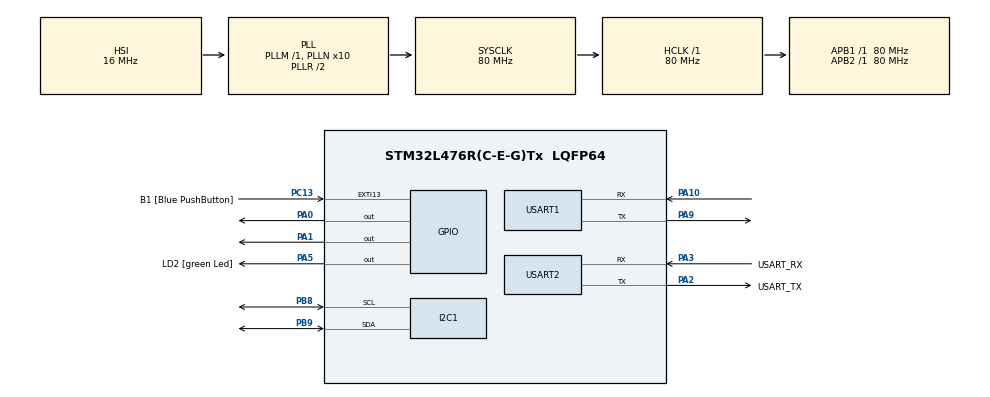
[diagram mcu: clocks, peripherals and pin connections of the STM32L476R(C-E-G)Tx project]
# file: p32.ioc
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I2C1.Timing=0x10D19CE4
Mcu.Family=STM32L4
Mcu.Name=STM32L476R(C-E-G)Tx
Mcu.Package=LQFP64
NVIC.PriorityGroup=NVIC_PRIORITYGROUP_4
PA0.Signal=GPIO_Output
PA1.Signal=GPIO_Output
PA10.Mode=Asynchronous
PA10.Signal=USART1_RX
PA13\ (JTMS-SWDIO).GPIO_Label=TMS
PA13\ (JTMS-SWDIO).Mode=Serial_Wire
PA13\ (JTMS-SWDIO).Signal=SYS_JTMS-SWDIO
PA14\ (JTCK-SWCLK).GPIO_Label=TCK
PA14\ (JTCK-SWCLK).Mode=Serial_Wire
PA14\ (JTCK-SWCLK).Signal=SYS_JTCK-SWCLK
PA2.GPIO_Label=USART_TX
PA2.GPIO_Mode=GPIO_MODE_AF_PP
PA2.GPIO_PuPd=GPIO_NOPULL
PA2.GPIO_Speed=GPIO_SPEED_FREQ_VERY_HIGH
PA2.Mode=Asynchronous
PA2.Signal=USART2_TX
PA3.GPIO_Label=USART_RX
PA3.GPIO_Mode=GPIO_MODE_AF_PP
PA3.GPIO_PuPd=GPIO_NOPULL
PA3.GPIO_Speed=GPIO_SPEED_FREQ_VERY_HIGH
PA3.Mode=Asynchronous
PA3.Signal=USART2_RX
PA5.GPIO_Label=LD2 [green Led]
PA5.GPIO_ModeDefaultOutputPP=GPIO_MODE_OUTPUT_PP
PA5.GPIO_PuPd=GPIO_NOPULL
PA5.GPIO_Speed=GPIO_SPEED_FREQ_LOW
PA5.Signal=GPIO_Output
PA9.Mode=Asynchronous
PA9.Signal=USART1_TX
PB3\ (JTDO-TRACESWO).GPIO_Label=SWO
PB3\ (JTDO-TRACESWO).Signal=SYS_JTDO-SWO
PB8.Mode=I2C
PB8.Signal=I2C1_SCL
PB9.Mode=I2C
PB9.Signal=I2C1_SDA
PC13.GPIO_Label=B1 [Blue PushButton]
PC13.GPIO_ModeDefaultEXTI=GPIO_MODE_IT_FALLING
PC13.GPIO_PuPd=GPIO_NOPULL
PC13.Signal=GPXTI13
PC14-OSC32_IN\ (PC14).Mode=LSE-External-Oscillator
PC14-OSC32_IN\ (PC14).Signal=RCC_OSC32_IN
PC15-OSC32_OUT\ (PC15).Mode=LSE-External-Oscillator
PC15-OSC32_OUT\ (PC15).Signal=RCC_OSC32_OUT
PH0-OSC_IN\ (PH0).Signal=RCC_OSC_IN
PH1-OSC_OUT\ (PH1).Signal=RCC_OSC_OUT
ProjectManager.HeapSize=0x200
ProjectManager.StackSize=0x400
ProjectManager.TargetToolchain=STM32CubeIDE
RCC.ADCFreq_Value=64000000
RCC.AHBFreq_Value=80000000
RCC.APB1Freq_Value=80000000
RCC.APB1TimFreq_Value=80000000
RCC.APB2Freq_Value=80000000
RCC.APB2TimFreq_Value=80000000
RCC.CortexFreq_Value=80000000
RCC.HCLKFreq_Value=80000000
RCC.HSE_VALUE=8000000
RCC.HSI_VALUE=16000000
RCC.MSI_VALUE=4000000
RCC.PLLN=10
RCC.PLLSourceVirtual=RCC_PLLSOURCE_HSI
RCC.PREFETCH_ENABLE=1
RCC.SYSCLKFreq_VALUE=80000000
RCC.SYSCLKSource=RCC_SYSCLKSOURCE_PLLCLK
RCC.USBFreq_Value=64000000
RCC.VCOOutputFreq_Value=160000000
USART1.VirtualMode-Asynchronous=VM_ASYNC
USART2.VirtualMode-Asynchronous=VM_ASYNC
board=NUCLEO-L476RG

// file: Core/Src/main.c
/* USER CODE BEGIN Header */
/**
  ******************************************************************************
  * @file           : main.c
  * @brief          : Edge AI Predictive Maintenance
  ******************************************************************************
  */
/* USER CODE END Header */

#include "main.h"

/* USER CODE BEGIN Includes */
#include <stdio.h>
#include <string.h>
#include "mpu.h"
#include "dht11.h"
#include "bmp.h"
#include "NanoEdgeAI.h"
/* USER CODE END Includes */

/* USER CODE BEGIN PD */
#define VIB_PERIOD_MS   1000
#define ENV_PERIOD_MS   1000

#define SIM_LIMIT   80
#define TEMP_LIMIT  50.0f
#define PRESS_LIMIT 1500.0f
#define HUM_LIMIT   80.0f
/* USER CODE END PD */

/* Private variables */
I2C_HandleTypeDef hi2c1;
UART_HandleTypeDef huart1;
UART_HandleTypeDef huart2;

/* USER CODE BEGIN PV */

/* ===== NanoEdge AI ===== */
enum neai_state state;
uint8_t similarity;
float neai_input[NEAI_INPUT_SIGNAL_LENGTH * NEAI_INPUT_AXIS_NUMBER];

/* ===== Sensors ===== */
float temperature = 0.0f;
float humidity = 0.0f;
float pressure_pa = 0.0f;

/* ===== Timers ===== */
uint32_t last_vib_tick = 0;
uint32_t last_env_tick = 0;

/* USER CODE END PV */

/* Function prototypes */
void SystemClock_Config(void);
static void MX_GPIO_Init(void);
static void MX_USART2_UART_Init(void);
static void MX_USART1_UART_Init(void);
static void MX_I2C1_Init(void);

/* USER CODE BEGIN PFP */
int __io_putchar(int ch);
static void Log_All_Sensors(void);
/* USER CODE END PFP */

int main(void)
{
  HAL_Init();
  SystemClock_Config();

  MX_GPIO_Init();
  MX_USART2_UART_Init();
  MX_USART1_UART_Init();
  MX_I2C1_Init();

  /* ===== Sensor Init ===== */
  MPU6050_Init();
  DHT11_Init();
  BMP180_Init(&hi2c1);

  /* ===== NanoEdge Init ===== */
  enum neai_state ret = neai_anomalydetection_init(true);

  if (ret != NEAI_OK)
  {
      printf("NEAI INIT ERROR = %d\r\n", ret);
      Error_Handler();
  }

  printf("SYSTEM STARTED\r\n");

  last_vib_tick = HAL_GetTick();
  last_env_tick = HAL_GetTick();

  while (1)
  {
      uint32_t now = HAL_GetTick();

      if ((now - last_env_tick) >= ENV_PERIOD_MS)
      {
          last_env_tick = now;

          if (DHT11_Read(&temperature, &humidity) != DHT11_OK)
          {
              temperature = 0;
              humidity = 0;
          }

          pressure_pa = BMP180_ReadPressure();
      }

      if ((now - last_vib_tick) >= VIB_PERIOD_MS)
      {
          last_vib_tick = now;
          Log_All_Sensors();   // NOW it prints updated sensor values
      }
  }
}

/* ================= UART PRINT ================= */

int __io_putchar(int ch)
{
  HAL_UART_Transmit(&huart2, (uint8_t *)&ch, 1, HAL_MAX_DELAY);
  return ch;
}

/* ================= MAIN LOGIC ================= */

static void Log_All_Sensors(void)
{
    char esp_buf[64];

    MPU6050_Read_Accel(accel_data);

    neai_input[0] = Ax;
    neai_input[1] = Ay;
    neai_input[2] = Az;

    state = neai_anomalydetection_detect(neai_input, &similarity);

    if (state != NEAI_OK)
    {
        printf("NEAI ERROR = %d\r\n", state);
        return;
    }

    uint8_t abnormal_flag = 0;

    /* ===== AI Check ===== */
    if (similarity <= SIM_LIMIT)
        abnormal_flag = 1;

    /* ===== Sensor Threshold Check ===== */
    if (temperature > TEMP_LIMIT ||
        (pressure_pa / 100.0f) > PRESS_LIMIT ||
        humidity > HUM_LIMIT)
        abnormal_flag = 1;

    uint8_t vib_status;
    const char *status_text;

    if (abnormal_flag == 0)
    {
        vib_status = 1;
        status_text = "NORMAL";

        HAL_GPIO_WritePin(GPIOA, GPIO_PIN_5, GPIO_PIN_SET);    // Green ON
        HAL_GPIO_WritePin(GPIOA, GPIO_PIN_0, GPIO_PIN_RESET); // Red OFF
    }
    else
    {
        vib_status = 2;
        status_text = "ABNORMAL";

        HAL_GPIO_WritePin(GPIOA, GPIO_PIN_0, GPIO_PIN_SET);    // Red ON
        HAL_GPIO_WritePin(GPIOA, GPIO_PIN_5, GPIO_PIN_RESET); // Green OFF
    }

    printf("SIMILARITY = %d %%\r\n", similarity);
    printf("STATUS = %s\r\n", status_text);

    printf("Temp=%.2f C | Pressure=%.2f hPa | Humidity=%.2f %%\r\n",
           temperature,
           pressure_pa / 100.0f,
           humidity);

    printf("--------------------------------\r\n");

    snprintf(esp_buf, sizeof(esp_buf),
             "%.2f,%.2f,%d,%.2f\r\n",
             temperature,
             pressure_pa / 100.0f,
             vib_status,
             humidity);

    HAL_UART_Transmit(&huart1,
                      (uint8_t*)esp_buf,
                      strlen(esp_buf),
                      100);
}

/* ================= INIT FUNCTIONS ================= */
/* (CubeMX generated – keep as it is) */

void SystemClock_Config(void)
{
  RCC_OscInitTypeDef RCC_OscInitStruct = {0};
  RCC_ClkInitTypeDef RCC_ClkInitStruct = {0};

  /** Configure the main internal regulator output voltage
  */
  if (HAL_PWREx_ControlVoltageScaling(PWR_REGULATOR_VOLTAGE_SCALE1) != HAL_OK)
  {
    Error_Handler();
  }

  /** Initializes the RCC Oscillators according to the specified parameters
  * in the RCC_OscInitTypeDef structure.
  */
  RCC_OscInitStruct.OscillatorType = RCC_OSCILLATORTYPE_HSI;
  RCC_OscInitStruct.HSIState = RCC_HSI_ON;
  RCC_OscInitStruct.HSICalibrationValue = RCC_HSICALIBRATION_DEFAULT;
  RCC_OscInitStruct.PLL.PLLState = RCC_PLL_ON;
  RCC_OscInitStruct.PLL.PLLSource = RCC_PLLSOURCE_HSI;
  RCC_OscInitStruct.PLL.PLLM = 1;
  RCC_OscInitStruct.PLL.PLLN = 10;
  RCC_OscInitStruct.PLL.PLLP = RCC_PLLP_DIV7;
  RCC_OscInitStruct.PLL.PLLQ = RCC_PLLQ_DIV2;
  RCC_OscInitStruct.PLL.PLLR = RCC_PLLR_DIV2;
  if (HAL_RCC_OscConfig(&RCC_OscInitStruct) != HAL_OK)
  {
    Error_Handler();
  }

  /** Initializes the CPU, AHB and APB buses clocks
  */
  RCC_ClkInitStruct.ClockType = RCC_CLOCKTYPE_HCLK|RCC_CLOCKTYPE_SYSCLK
                              |RCC_CLOCKTYPE_PCLK1|RCC_CLOCKTYPE_PCLK2;
  RCC_ClkInitStruct.SYSCLKSource = RCC_SYSCLKSOURCE_PLLCLK;
  RCC_ClkInitStruct.AHBCLKDivider = RCC_SYSCLK_DIV1;
  RCC_ClkInitStruct.APB1CLKDivider = RCC_HCLK_DIV1;
  RCC_ClkInitStruct.APB2CLKDivider = RCC_HCLK_DIV1;

  if (HAL_RCC_ClockConfig(&RCC_ClkInitStruct, FLASH_LATENCY_4) != HAL_OK)
  {
    Error_Handler();
  }
}

static void MX_I2C1_Init(void)
{

  hi2c1.Instance = I2C1;
  hi2c1.Init.Timing = 0x10D19CE4;
  hi2c1.Init.OwnAddress1 = 0;
  hi2c1.Init.AddressingMode = I2C_ADDRESSINGMODE_7BIT;
  hi2c1.Init.DualAddressMode = I2C_DUALADDRESS_DISABLE;
  hi2c1.Init.OwnAddress2 = 0;
  hi2c1.Init.OwnAddress2Masks = I2C_OA2_NOMASK;
  hi2c1.Init.GeneralCallMode = I2C_GENERALCALL_DISABLE;
  hi2c1.Init.NoStretchMode = I2C_NOSTRETCH_DISABLE;
  if (HAL_I2C_Init(&hi2c1) != HAL_OK)
  {
    Error_Handler();
  }

  /** Configure Analogue filter
  */
  if (HAL_I2CEx_ConfigAnalogFilter(&hi2c1, I2C_ANALOGFILTER_ENABLE) != HAL_OK)
  {
    Error_Handler();
  }

  /** Configure Digital filter
  */
  if (HAL_I2CEx_ConfigDigitalFilter(&hi2c1, 0) != HAL_OK)
  {
    Error_Handler();
  }

}

static void MX_USART1_UART_Init(void)
{

  huart1.Instance = USART1;
  huart1.Init.BaudRate = 115200;
  huart1.Init.WordLength = UART_WORDLENGTH_8B;
  huart1.Init.StopBits = UART_STOPBITS_1;
  huart1.Init.Parity = UART_PARITY_NONE;
  huart1.Init.Mode = UART_MODE_TX_RX;
  huart1.Init.HwFlowCtl = UART_HWCONTROL_NONE;
  huart1.Init.OverSampling = UART_OVERSAMPLING_16;
  huart1.Init.OneBitSampling = UART_ONE_BIT_SAMPLE_DISABLE;
  huart1.AdvancedInit.AdvFeatureInit = UART_ADVFEATURE_NO_INIT;
  if (HAL_UART_Init(&huart1) != HAL_OK)
  {
    Error_Handler();
  }

}

static void MX_USART2_UART_Init(void)
{

  huart2.Instance = USART2;
  huart2.Init.BaudRate = 115200;
  huart2.Init.WordLength = UART_WORDLENGTH_8B;
  huart2.Init.StopBits = UART_STOPBITS_1;
  huart2.Init.Parity = UART_PARITY_NONE;
  huart2.Init.Mode = UART_MODE_TX_RX;
  huart2.Init.HwFlowCtl = UART_HWCONTROL_NONE;
  huart2.Init.OverSampling = UART_OVERSAMPLING_16;
  huart2.Init.OneBitSampling = UART_ONE_BIT_SAMPLE_DISABLE;
  huart2.AdvancedInit.AdvFeatureInit = UART_ADVFEATURE_NO_INIT;
  if (HAL_UART_Init(&huart2) != HAL_OK)
  {
    Error_Handler();
  }

}

static void MX_GPIO_Init(void)
{
  GPIO_InitTypeDef GPIO_InitStruct = {0};

  /* GPIO Ports Clock Enable */
  __HAL_RCC_GPIOC_CLK_ENABLE();
  __HAL_RCC_GPIOH_CLK_ENABLE();
  __HAL_RCC_GPIOA_CLK_ENABLE();
  __HAL_RCC_GPIOB_CLK_ENABLE();

  /*Configure GPIO pin Output Level */
  HAL_GPIO_WritePin(GPIOA, GPIO_PIN_0|GPIO_PIN_1|LD2_Pin, GPIO_PIN_RESET);

  /*Configure GPIO pin : B1_Pin */
  GPIO_InitStruct.Pin = B1_Pin;
  GPIO_InitStruct.Mode = GPIO_MODE_IT_FALLING;
  GPIO_InitStruct.Pull = GPIO_NOPULL;
  HAL_GPIO_Init(B1_GPIO_Port, &GPIO_InitStruct);

  /*Configure GPIO pins : PA0 PA1 LD2_Pin */
  GPIO_InitStruct.Pin = GPIO_PIN_0|LD2_Pin;
  GPIO_InitStruct.Mode = GPIO_MODE_OUTPUT_PP;
  GPIO_InitStruct.Pull = GPIO_NOPULL;
  GPIO_InitStruct.Speed = GPIO_SPEED_FREQ_LOW;
  HAL_GPIO_Init(GPIOA, &GPIO_InitStruct);

}

void Error_Handler(void)
{
  __disable_irq();
  while (1) {}
}
